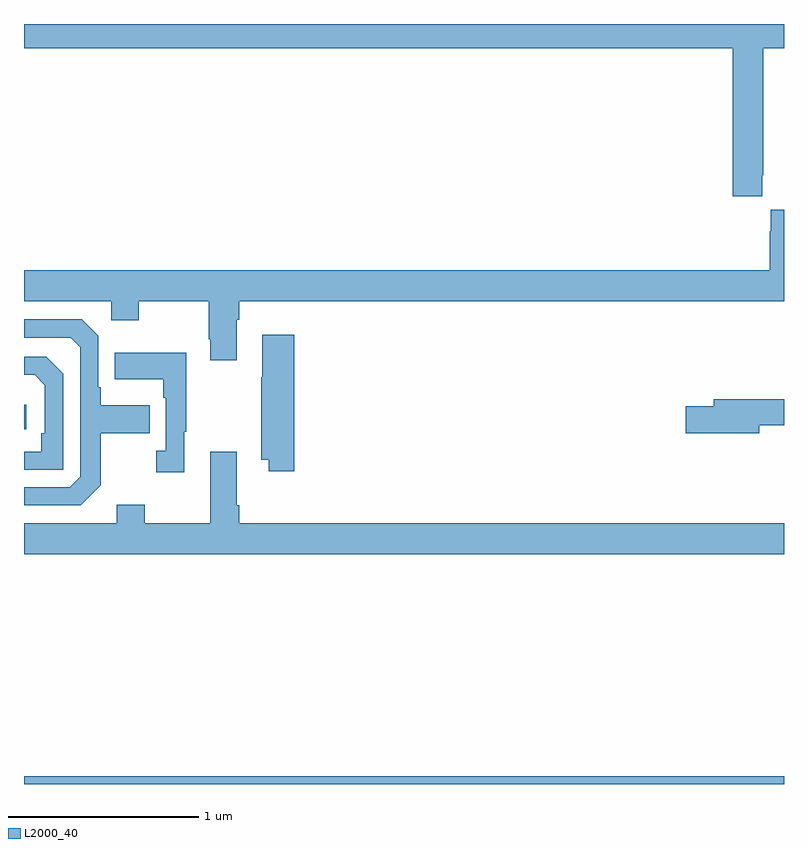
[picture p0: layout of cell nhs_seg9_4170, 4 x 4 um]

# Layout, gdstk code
import gdstk
lib = gdstk.Library(unit=1e-6, precision=1e-09)
def R(c, l, rs):  # rectangles x0, y0, x1, y1
    for r in rs: c.add(gdstk.rectangle(r[:2], r[2:], *l))
def P(c, l, *ps):  # polygons
    for p in ps: c.add(gdstk.Polygon(p, *l))
L2000_40 = (2000, 40)

nhs_seg9_4170 = lib.new_cell('nhs_seg9_4170')
R(nhs_seg9_4170, L2000_40, [(349,1240.5,353,1240.54), (349,1242.366,349.012,1242.496)])
P(nhs_seg9_4170, L2000_40, [(352.885,1243.705),(352.89,1243.705),(352.89,1244.372),(353,1244.372),(353,1244.5),(349,1244.5),(349,1244.372),(352.73,1244.372),(352.73,1243.593),(352.885,1243.593)],
  [(350.119,1242.944),(350.132,1242.944),(350.132,1243.04),(353,1243.04),(353,1243.522),(352.931,1243.522),(352.931,1243.409),(352.925,1243.409),(352.925,1243.204),(349,1243.204),(349,1243.04),(349.458,1243.04),(349.458,1242.941),(349.605,1242.941),(349.605,1243.04),(349.972,1243.04),(349.972,1242.841),(349.979,1242.841),(349.979,1242.729),(350.119,1242.729)],
  [(349.405,1242.073),(349.405,1242.346),(349.661,1242.346),(349.661,1242.493),(349.405,1242.493),(349.405,1242.589),(349.392,1242.589),(349.392,1242.858),(349.305,1242.945),(349,1242.945),(349,1242.849),(349.245,1242.849),(349.296,1242.798),(349.296,1242.117),(349.242,1242.063),(349,1242.063),(349,1241.967),(349.299,1241.967)],
  [(350.423,1242.865),(350.255,1242.865),(350.255,1242.641),(350.248,1242.641),(350.248,1242.206),(350.288,1242.206),(350.288,1242.147),(350.423,1242.147)],
  [(349.843,1242.353),(349.855,1242.353),(349.855,1242.769),(349.477,1242.769),(349.477,1242.629),(349.734,1242.629),(349.734,1242.533),(349.746,1242.533),(349.746,1242.254),(349.695,1242.254),(349.695,1242.141),(349.843,1242.141)],
  [(349.206,1242.66),(349.116,1242.75),(349,1242.75),(349,1242.653),(349.057,1242.653),(349.11,1242.6),(349.11,1242.346),(349.09,1242.346),(349.09,1242.249),(349,1242.249),(349,1242.153),(349.206,1242.153)],
  [(352.87,1242.388),(353,1242.388),(353,1242.524),(352.631,1242.524),(352.631,1242.488),(352.482,1242.488),(352.482,1242.346),(352.87,1242.346)],
  [(353,1241.872),(350.132,1241.872),(350.132,1241.968),(350.119,1241.968),(350.119,1242.25),(349.979,1242.25),(349.979,1241.872),(349.635,1241.872),(349.635,1241.971),(349.487,1241.971),(349.487,1241.872),(349,1241.872),(349,1241.708),(353,1241.708)])

lib.write_gds('nhs_seg9_4170.gds')
